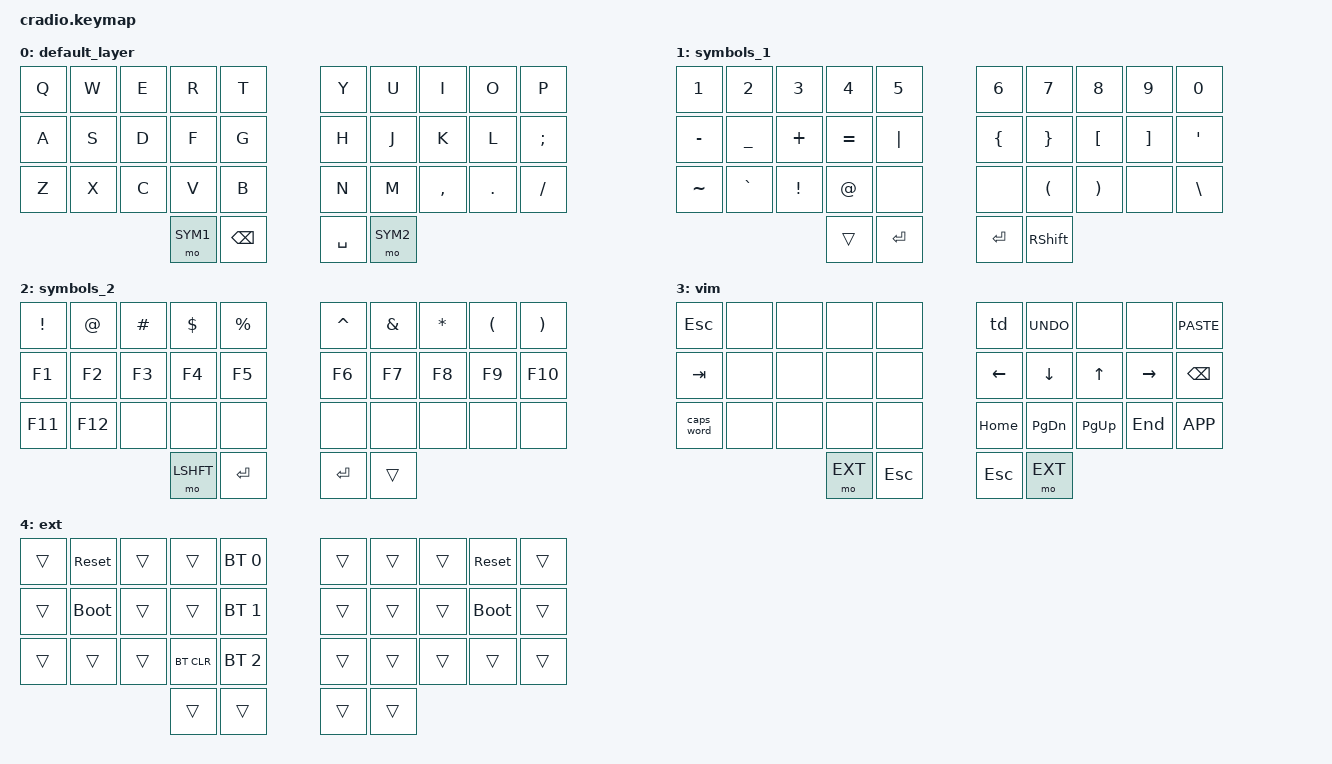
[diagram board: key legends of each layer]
// Copyright (c) 2022 The ZMK Contributors
// SPDX-License-Identifier: MIT

#include <behaviors.dtsi>
#include <dt-bindings/zmk/keys.h>
#include <dt-bindings/zmk/bt.h>

// Layer definitions
#define BASE 0
#define SYM1 1
#define SYM2 2
#define VIM  3
#define EXT  4

/ {
    behaviors {
        ht: hold_tap {
            label = "hold_tap";
            compatible = "zmk,behavior-hold-tap";
            #binding-cells = <2>;
            flavor = "tap-preferred";
            tapping-term-ms = <220>;
            quick-tap-ms = <150>;
            require-prior-idle-ms = <100>;
            bindings = <&kp>, <&kp>;
        };
	// double tap for copy
	td: tap_dance_0 {
            compatible = "zmk,behavior-tap-dance";
            #binding-cells = <0>;
            tapping-term-ms = <200>;
            bindings = <&kp K_COPY>, <&kp K_CUT>;
        };
    };

    combos {
        compatible = "zmk,combos";
	// combos defining home row mods
	combo_fd_lgui {
	    timeout-ms = <15>;
	    key-positions = <13 12>;
	    bindings = <&kp LGUI>;
	    require-prior-idle-ms = <100>;
	};
	combo_jk_rgui {
	    timeout-ms = <15>;
	    key-positions = <16 17>;
	    bindings = <&kp RGUI>;
	    require-prior-idle-ms = <100>;
	};
	combo_fs_lctrl {
	    timeout-ms = <15>;
	    key-positions = <13 11>;
	    bindings = <&kp LCTRL>;
	    require-prior-idle-ms = <100>;
	};
	combo_jl_rctrl {
	    timeout-ms = <15>;
	    key-positions = <16 18>;
	    bindings = <&kp RCTRL>;
	    require-prior-idle-ms = <100>;
	};
	combo_fa_lopt {
	    timeout-ms = <15>;
	    key-positions = <13 10>;
	    bindings = <&kp LALT>;
	    require-prior-idle-ms = <100>;
	};
	combo_jsemi_ropt {
	    timeout-ms = <15>;
	    key-positions = <16 19>;
	    bindings = <&kp RALT>;
	    require-prior-idle-ms = <100>;
	};
	combo_ds_lshift {
	    timeout-ms = <15>;
	    key-positions = <12 11>;
	    bindings = <&kp LSHFT>;
	    require-prior-idle-ms = <100>;
	};
	combo_kl_rshift {
	    timeout-ms = <15>;
	    key-positions = <18 17>;
	    bindings = <&kp RSHFT>;
	    require-prior-idle-ms = <100>;
	};

	combo_gd_shiftlgui {
	    timeout-ms = <15>;
	    key-positions = <14 12>;
	    bindings = <&kp LS(LGUI)>;
	    require-prior-idle-ms = <100>;
	};
	combo_hk_shiftrgui {
	    timeout-ms = <15>;
	    key-positions = <15 17>;
	    bindings = <&kp RS(RGUI)>;
	    require-prior-idle-ms = <100>;
	};
	combo_gs_shiftlctrl {
	    timeout-ms = <15>;
	    key-positions = <14 11>;
	    bindings = <&kp LS(LCTRL)>;
	    require-prior-idle-ms = <100>;
	};
	combo_hl_shiftrctrl {
	    timeout-ms = <15>;
	    key-positions = <15 18>;
	    bindings = <&kp RS(RCTRL)>;
	    require-prior-idle-ms = <100>;
	};
	combo_ga_shiftlopt {
	    timeout-ms = <15>;
	    key-positions = <14 10>;
	    bindings = <&kp LS(LALT)>;
	    require-prior-idle-ms = <100>;
	};
	combo_hsemi_ropt {
	    timeout-ms = <15>;
	    key-positions = <15 19>;
	    bindings = <&kp RS(RALT)>;
	    require-prior-idle-ms = <100>;
	};

	combo_as_lctrllalt {
	    timeout-ms = <15>;
	    key-positions = <10 11>;
	    bindings = <&mt LC(LALT) TAB>;
	    require-prior-idle-ms = <100>;
	};
	combo_lsemi_rctrlralt {
	    timeout-ms = <15>;
	    key-positions = <18 19>;
	    bindings = <&mt RC(RALT) BSPC>;
	    require-prior-idle-ms = <100>;
	};

	combo_asd_lctrllaltlshift {
	    timeout-ms = <15>;
	    key-positions = <10 11 12>;
	    bindings = <&kp LS(LC(LALT))>;
	    require-prior-idle-ms = <100>;
	};
	combo_lsemi_rctrlraltrshift {
	    timeout-ms = <15>;
	    key-positions = <17 18 19>;
	    bindings = <&kp RS(RC(RALT))>;
	    require-prior-idle-ms = <100>;
	};

	combo_asdg_lhyper {
	    timeout-ms = <15>;
	    key-positions = <10 11 12 13>;
	    bindings = <&kp LG(LS(LC(LALT)))>;
	    require-prior-idle-ms = <100>;
	};
	combo_jklsemi_rhyper {
	    timeout-ms = <15>;
	    key-positions = <16 17 18 19>;
	    bindings = <&kp RG(RS(RC(RALT)))>;
	    require-prior-idle-ms = <100>;
	};

    combo_esc {
        timeout-ms = <15>;
        key-positions = <0 1>;
        bindings = <&kp ESC>;
        require-prior-idle-ms = <100>;
    };
	combo_vim {
            timeout-ms = <300>;
            key-positions = <30 33>;
            bindings = <&mo 3>;
	        slow-release;
        };
    };

    keymap {
        compatible = "zmk,keymap";
        default_layer {
            bindings = <
        //╭──────────┬──────────┬──────────┬──────────┬──────────╮   ╭──────────┬──────────┬──────────┬──────────┬──────────╮
        //│  Q 0     │  W       │  E       │  R       │  T       │   │  Y  5    │  U       │  I       │  O       │  P       │
            &kp Q      &kp W      &kp E      &kp R      &kp T          &kp Y      &kp U      &kp I      &kp O      &kp P
        //├──────────┼──────────┼──────────┼──────────┼──────────┤   ├──────────┼──────────┼──────────┼──────────┼──────────┤
        //│  A 10    │  S       │  D       │  F       │  G       │   │  H  15   │  J       │  K       │  L       │ ; :      │
            &kp A     &kp S      &kp D       &kp F      &kp G          &kp H      &kp J       &kp K     &kp L     &kp SEMI
        //├──────────┼──────────┼──────────┼──────────┼──────────┤   ├──────────┼──────────┼──────────┼──────────┼──────────┤
        //│  Z 20    │  X       │  C       │  V       │  B       │   │  N  25   │  M       │ , <      │ . >      │ / ?      │
            &kp Z      &kp X      &kp C      &kp V      &kp B          &kp N      &kp M      &kp COMMA  &kp DOT    &kp FSLH
        //╰──────────┴──────────┴──────────┼──────────┼──────────┤   ├──────────┼──────────┼──────────┴──────────┴──────────╯
                                             &mo SYM1  &kp BSPC       &kp SPACE  &mo SYM2
        //                                 ╰────30────┴──────────╯   ╰──────────┴────33────╯
            >;
        };

        symbols_1 {
            bindings = <
        //╭──────────┬──────────┬──────────┬──────────┬──────────╮   ╭──────────┬──────────┬──────────┬──────────┬──────────╮
        //│  1 !     │  2 @     │  3 #     │ 4 $      │  5  %    │   | 6 ^      │ 7 &      │ 8 *      │  9 (     │  0 )
	     &kp N1     &kp N2     &kp N3     &kp N4      &kp N5        &kp N6     &kp N7    &kp N8      &kp N9     &kp N0
        //├──────────┼──────────┼──────────┼──────────┼──────────┤   ├──────────┼──────────┼──────────┼──────────┼──────────┤
        //│ -        │  _       │  +       │  =       │  |       │   │  {       │  }       │ [        │ ]        | ' "
	    &kp MINUS  &kp UNDER   &kp PLUS  &kp EQUAL   &kp PIPE      &kp LBRC    &kp RBRC  &kp LBKT   &kp RBKT   &kp SQT
        //├──────────┼──────────┼──────────┼──────────┼──────────┤   ├──────────┼──────────┼──────────┼──────────┼──────────┤
        //│          │          │  !       │  @       │          │   │          │  (       │ )        │          |  
           &kp TILDE   &kp GRAVE  &kp EXCL   &kp AT      &none          &none    &kp LPAR   &kp RPAR   &none     &kp BSLH
        //╰──────────┴──────────┴──────────┼──────────┼──────────┤   ├──────────┼──────────┼──────────┴──────────┴──────────╯
                                             &trans     &kp ENTER      &kp ENTER  &kp RSHFT
        //                                 ╰──────────┴──────────╯   ╰──────────┴──────────╯
            >;
        };

        symbols_2 {
            bindings = <
        //╭──────────┬──────────┬──────────┬──────────┬──────────╮   ╭──────────┬──────────┬──────────┬──────────┬──────────╮
        //│          │          │          │          │          │   │          │          │          │          │          │
	     &kp EXCL   &kp AT     &kp HASH   &kp DLLR  &kp PERCENT    &kp CARET   &kp AMPS  &kp STAR    &kp LPAR  &kp RPAR
        //├──────────┼──────────┼──────────┼──────────┼──────────┤   ├──────────┼──────────┼──────────┼──────────┼──────────┤
        //│          │          │          │          │          │   │          │          │          │          │          │
            &kp F1     &kp F2     &kp F3     &kp F4     &kp F5         &kp F6     &kp F7     &kp F8     &kp F9      &kp F10
        //├──────────┼──────────┼──────────┼──────────┼──────────┤   ├──────────┼──────────┼──────────┼──────────┼──────────┤
        //│          │          │          │          │          │   │          │          │          │          │          │
            &kp F11     &kp F12    &none     &none      &none         &none     &none      &none         &none     &none     
        //╰──────────┴──────────┴──────────┼──────────┼──────────┤   ├──────────┼──────────┼──────────┴──────────┴──────────╯
                                             &mo LSHFT  &kp ENTER      &kp ENTER   &trans
        //                                 ╰──────────┴──────────╯   ╰──────────┴──────────╯
            >;
        };

        vim {
            bindings = <
        //╭──────────┬──────────┬──────────┬──────────┬──────────╮   ╭──────────┬──────────┬──────────┬──────────┬──────────╮
        //│          │          │          │          │          │   │          │          │          │          │          │
            &kp ESC    &none      &none      &none       &none         &td        &kp K_UNDO   &none    &none     &kp K_PASTE
        //├──────────┼──────────┼──────────┼──────────┼──────────┤   ├──────────┼──────────┼──────────┼──────────┼──────────┤
        //│          │          │          │          │          │   │  L       │  DOWN    │  UP      │  R       │          │
            &kp TAB      &none      &none      &none      &none          &kp LEFT   &kp DOWN   &kp UP     &kp RIGHT  &kp BSPC
        //├──────────┼──────────┼──────────┼──────────┼──────────┤   ├──────────┼──────────┼──────────┼──────────┼──────────┤
        //│          │          │          │          │          │   │          │          │          │          │          │
           &caps_word   &none      &none      &none       &none         &kp HOME  &kp PG_DN  &kp PG_UP   &kp END   &kp K_APP
        //╰──────────┴──────────┴──────────┼──────────┼──────────┤   ├──────────┼──────────┼──────────┴──────────┴──────────╯
                                             &mo EXT     &kp ESC        &kp ESC    &mo EXT
        //                                 ╰──────────┴──────────╯   ╰──────────┴──────────╯
            >;
        };

        ext {
            bindings = <
        //╭──────────┬──────────┬──────────┬──────────┬──────────╮   ╭──────────┬──────────┬──────────┬──────────┬──────────╮
        //│ RESET    │          │          │          │PROFILE 0 │   │          │          │          │          │  RESET   │
           &trans     &sys_reset     &trans     &trans    &bt BT_SEL 0    &trans     &trans     &trans  &sys_reset &trans
        //├──────────┼──────────┼──────────┼──────────┼──────────┤   ├──────────┼──────────┼──────────┼──────────┼──────────┤
        //│BOOTLOADER│          │          │          │PROFILE 1 │   │          │          │          │          │BOOTLOADER│
          &trans      &bootloader     &trans     &trans    &bt BT_SEL 1    &trans     &trans   &trans   &bootloader &trans
        //├──────────┼──────────┼──────────┼──────────┼──────────┤   ├──────────┼──────────┼──────────┼──────────┼──────────┤
        //│          │          │          │ CLEAR BT │PROFILE 2 │   │          │          │          │          │          │
            &trans     &trans     &trans    &bt BT_CLR &bt BT_SEL 2    &trans     &trans     &trans     &trans     &trans
        //╰──────────┴──────────┴──────────┼──────────┼──────────┤   ├──────────┼──────────┼──────────┴──────────┴──────────╯
                                             &trans     &trans         &trans     &trans
        //                                 ╰──────────┴──────────╯   ╰──────────┴──────────╯
            >;
        };
    };
};
